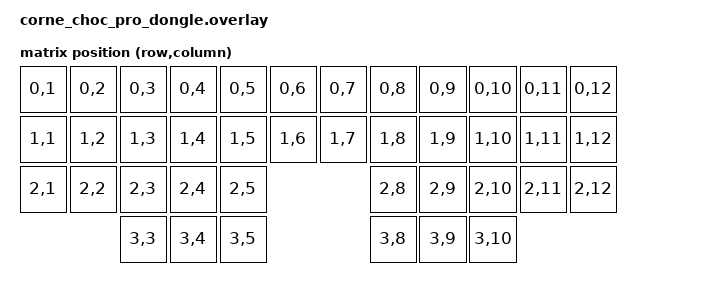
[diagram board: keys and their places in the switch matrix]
#include <dt-bindings/zmk/matrix_transform.h>
#include "corne_choc_pro-layouts.dtsi"

&five_col_layout {
    transform = <&five_col_transform>;
};

/ {
    chosen {
        zmk,kscan = &mock_kscan;
        zmk,physical-layout = &five_col_layout;
    };

    mock_kscan: mock_kscan_0 {
        compatible = "zmk,kscan-mock";
        columns = <0>;
        rows = <0>;
        events = <0>;
    };

    five_col_transform: keymap_transform_0 {
        compatible = "zmk,matrix-transform";
        columns = <12>;
        rows = <4>;
        map = <
            RC(0,1) RC(0,2) RC(0,3) RC(0,4) RC(0,5) RC(0,6) RC(0,7) RC(0,8) RC(0,9) RC(0,10) RC(0,11) RC(0,12)
            RC(1,1) RC(1,2) RC(1,3) RC(1,4) RC(1,5) RC(1,6) RC(1,7) RC(1,8) RC(1,9) RC(1,10) RC(1,11) RC(1,12)
            RC(2,1) RC(2,2) RC(2,3) RC(2,4) RC(2,5)                 RC(2,8) RC(2,9) RC(2,10) RC(2,11) RC(2,12)
                            RC(3,3) RC(3,4) RC(3,5)                 RC(3,8) RC(3,9) RC(3,10)
        >;
    };
};
